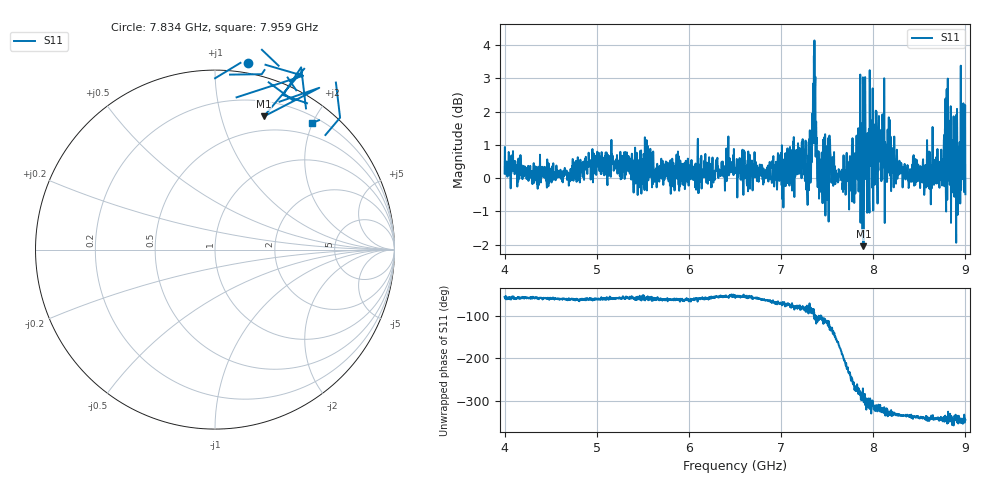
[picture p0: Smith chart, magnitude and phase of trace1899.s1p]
! Created with skrf 1.8.0 (http://scikit-rf.org).
# Hz S RI R 50.0
!freq ReS11 ImS11
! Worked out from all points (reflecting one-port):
!   1601 points, 4 GHz to 9 GHz, reference 50 ohm
!   lowest |S11| = -2.0 dB at 7.894 GHz (marker M1), VSWR 8.51, Z = 17.4 + j68.6 ohm
!   phase of S11 starts at -56 deg and turns -288 deg over the sweep
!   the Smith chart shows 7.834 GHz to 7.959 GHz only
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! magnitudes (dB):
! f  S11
! 4 GHz  0.1
! 4.625 GHz  -0.1
! 5.25 GHz  0.1
! 5.875 GHz  0.1
! 6.5 GHz  0.1
! 7.038 GHz  0.3
! 7.125 GHz  0.2
! 7.209 GHz  0.9
! 7.278 GHz  0.4
! 7.309 GHz  1.1
! 7.362 GHz  4.1
! 7.4 GHz  -0.1
! 7.425 GHz  -0.1
! 7.525 GHz  1.3
! 7.603 GHz  0.0
! 7.75 GHz  0.3
! 7.788 GHz  0.5
! 7.834 GHz  0.5
! 7.875 GHz  -0.5
! 7.894 GHz  -2.0
! 7.956 GHz  -0.7
! 7.988 GHz  1.7
! 8.375 GHz  0.1
! 8.709 GHz  0.5
! 8.816 GHz  0.2
! 8.875 GHz  0.5
! 8.972 GHz  0.8
! 9 GHz  -0.5
